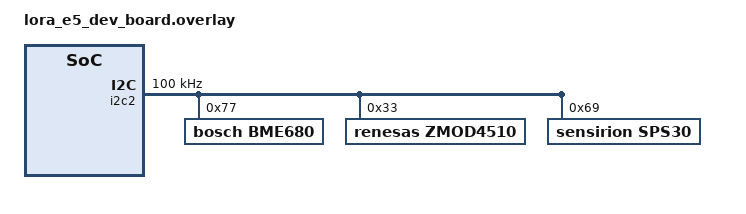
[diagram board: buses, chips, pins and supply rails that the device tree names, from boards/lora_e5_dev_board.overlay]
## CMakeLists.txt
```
cmake_minimum_required(VERSION 3.20.0)

find_package(Zephyr REQUIRED HINTS $ENV{ZEPHYR_BASE})
project(aether)

FILE(GLOB app_sources src/*.c)
target_sources(app PRIVATE ${app_sources})
```

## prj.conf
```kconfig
# General
CONFIG_MAIN_STACK_SIZE=2048
CONFIG_SYSTEM_WORKQUEUE_STACK_SIZE=2048
CONFIG_NEWLIB_LIBC=y
CONFIG_NEWLIB_LIBC_FLOAT_PRINTF=y
CONFIG_CBPRINTF_FP_SUPPORT=y

# IO
CONFIG_I2C=y
CONFIG_SPI=y
CONFIG_GPIO=y

# Logging
CONFIG_STDOUT_CONSOLE=y
CONFIG_LOG=y
CONFIG_ARCH_LOG_LEVEL_DBG=y
CONFIG_KERNEL_LOG_LEVEL_DBG=n
CONFIG_SENSOR_LOG_LEVEL_DBG=y

# Sensors
CONFIG_SENSOR=y
CONFIG_ZMOD4510=y
CONFIG_BME680=y
CONFIG_ZMOD4510_HUMIDITY=y
CONFIG_ZMOD4510_TEMPERATURE=y
```

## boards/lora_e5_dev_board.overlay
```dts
&i2c2 {
  clock-frequency = < 0x186a0 >;
  bme680: bme680@77 {
    compatible = "bosch,bme680";
    reg = <0x77>;
    label = "BME680";
    status="okay";
  };

  zmod4510: zmod4510@33 {
    compatible = "renesas,zmod4510";
    reg = <0x33>;
    label = "ZMOD4510";
    status="okay";
    humidity-sensor = < &bme680 >;
    temperature-sensor = < &bme680 >;
  };

  sps30: sps30@69 {
    compatible = "sensirion,sps30";
    reg = <0x69>;
    label = "SPS30";
    status="okay";
  };
};

// vim: ft=dts
```

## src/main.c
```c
#include <drivers/sensor/zmod4510.h>
#include <zephyr.h>
#include <device.h>
#include <drivers/sensor.h>
#include <logging/log.h>

LOG_MODULE_REGISTER(zmod4510_sandbox);

void main() {
  struct sensor_value aqi, humidity, temp;
  const struct device *zmod = DEVICE_DT_GET(DT_NODELABEL(zmod4510));
  const struct device *bme = DEVICE_DT_GET(DT_NODELABEL(bme680));

  if (!device_is_ready(zmod)) {
    printk("zmod not ready\n");
    return;
  }

  if (!device_is_ready(bme)) {
    printk("bme not ready\n");
    return;
  }

  while (1) {
    sensor_sample_fetch(zmod);
    sensor_channel_get(zmod, (enum sensor_channel) ZMOD4510_SENSOR_CHAN_AQI, &aqi); 

    sensor_sample_fetch(bme);
    sensor_channel_get(bme, SENSOR_CHAN_HUMIDITY, &humidity);
    sensor_channel_get(bme, SENSOR_CHAN_AMBIENT_TEMP, &temp);

    // Warn just to differentiate the logs
    LOG_WRN("aqi=%f, humidity=%f, temp=%f\n", 
        sensor_value_to_double(&aqi),
        sensor_value_to_double(&humidity),
        sensor_value_to_double(&temp));
    k_msleep(1000);
  }
}
```
